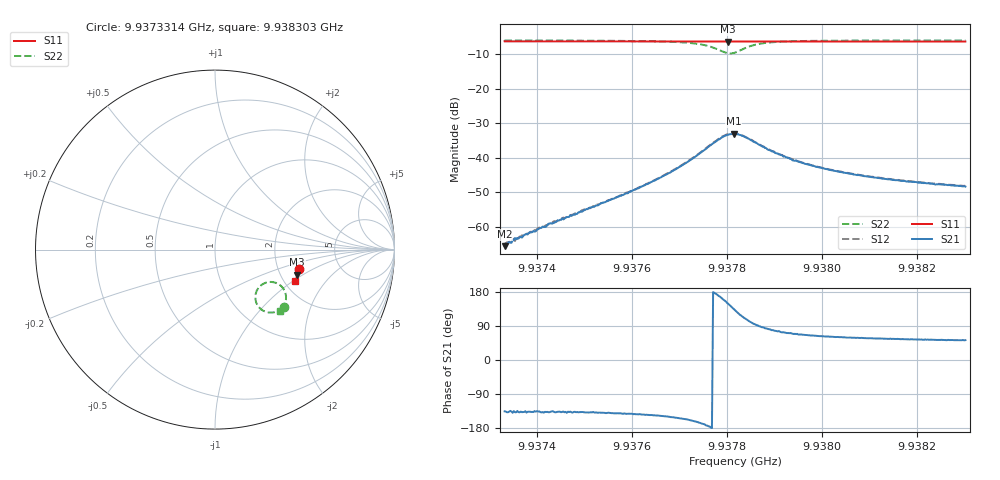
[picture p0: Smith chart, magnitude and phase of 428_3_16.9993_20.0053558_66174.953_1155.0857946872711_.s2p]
#  HZ  S  RI  R  50.00
! Rohde & Schwarz Vector Network Analyzer
! Rohde-Schwarz,ZNB20-2Port,1311601062101988,3.16
! Created: UTC 3/20/2024, 11:11:15 PM
! freq[Hz]  re:S11  im:S11  re:S21  im:S21  re:S12  im:S12  re:S22  im:S22
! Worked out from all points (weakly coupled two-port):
!   401 points, 9.9373314 GHz to 9.938303 GHz, reference 50 ohm
!   highest |S21| = -33.06 dB at 9.9378148 GHz (marker M1); lowest = -65.6 dB at 9.9373314 GHz (marker M2)
!   lowest |S11| = -6.4 dB at 9.9378026 GHz (marker M3), VSWR 2.84, Z = 123 - j44.8 ohm
!   |S11| at or under -10 dB: nowhere
!   |S22| runs from -9.8 to -6.1 dB; largest |S21 - S12| = 0.00098
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9.93733137e9  0.4706 -0.1105  -0.000374 -0.000367  -0.000445 -0.000376  0.3821 -0.3189
9.93735323e9  0.4701 -0.112  -0.00051 -0.000462  -0.000458 -0.000422  0.3804 -0.3205
9.93736538e9  0.47 -0.1128  -0.000516 -0.000494  -0.000535 -0.000484  0.3795 -0.3213
9.93740425e9  0.4692 -0.1156  -0.000669 -0.000656  -0.000716 -0.000657  0.3761 -0.3243
9.93749412e9  0.4671 -0.1215  -0.00122 -0.00111  -0.00132 -0.00113  0.3669 -0.3317
9.93757185e9  0.4654 -0.1266  -0.00212 -0.00173  -0.00216 -0.00172  0.3556 -0.339
9.93765687e9  0.4632 -0.1324  -0.0042 -0.00274  -0.00433 -0.00272  0.3334 -0.3483
9.93770302e9  0.4618 -0.1356  -0.00677 -0.00333  -0.00694 -0.00324  0.3101 -0.3511
9.9377516e9  0.46 -0.1389  -0.0126 -0.00242  -0.0128 -0.00209  0.2636 -0.3373
9.93778561e9  0.4583 -0.1404  -0.0183 0.00421  -0.0187 0.00491  0.2255 -0.2773
9.93780261e9  0.4576 -0.1405  -0.0184 0.0112  -0.0185 0.0119  0.2356 -0.2237
9.93781476e9  0.4579 -0.1409  -0.0156 0.0158  -0.0152 0.0167  0.2655 -0.1928
9.93781719e9  0.4577 -0.1408  -0.0146 0.0165  -0.0143 0.0172  0.2733 -0.1886
9.93783419e9  0.458 -0.1415  -0.00819 0.0189  -0.00768 0.0193  0.3269 -0.1819
9.9378512e9  0.4582 -0.1426  -0.00293 0.0176  -0.00238 0.0181  0.3647 -0.1997
9.9378682e9  0.4583 -0.1439  0.00024 0.0154  0.000566 0.0156  0.3841 -0.2225
9.93790706e9  0.4579 -0.147  0.00288 0.0111  0.00308 0.0112  0.3958 -0.2625
9.93793864e9  0.457 -0.149  0.00319 0.00857  0.00357 0.00888  0.3945 -0.2821
9.93797994e9  0.456 -0.1521  0.00326 0.00694  0.00349 0.00694  0.39 -0.2984
9.93806981e9  0.4538 -0.1579  0.00295 0.00487  0.00312 0.00487  0.3801 -0.318
9.93814268e9  0.4517 -0.1627  0.00274 0.00403  0.00284 0.00403  0.3733 -0.3276
9.938303e9  0.4474 -0.173  0.00233 0.00302  0.00245 0.00303  0.3607 -0.3421
